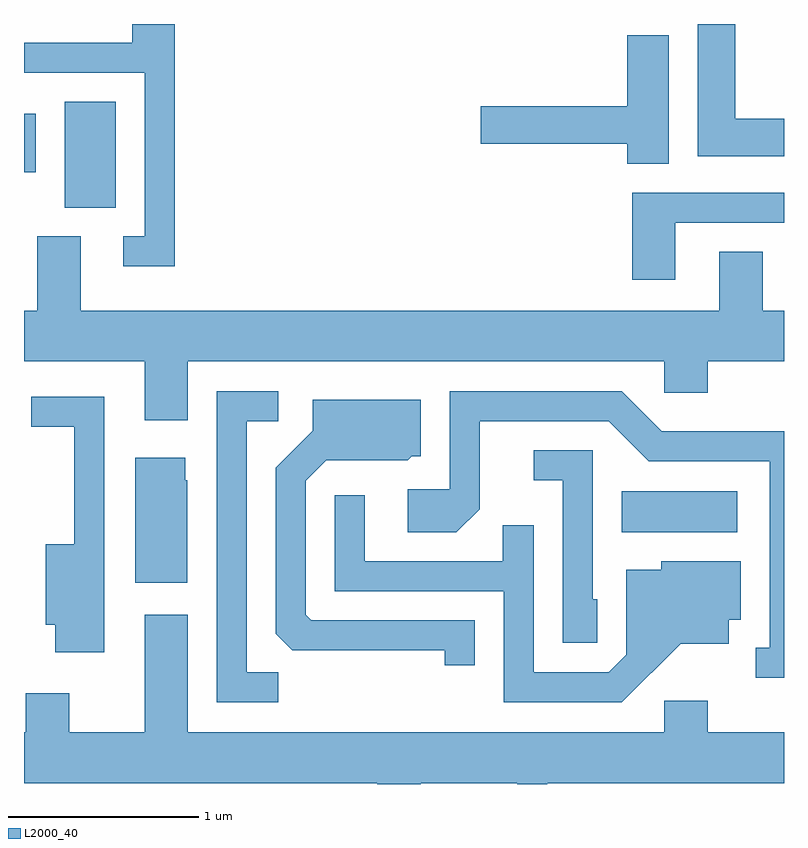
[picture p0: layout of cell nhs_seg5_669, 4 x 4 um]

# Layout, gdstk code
import gdstk
lib = gdstk.Library(unit=1e-6, precision=1e-09)
def R(c, l, rs):  # rectangles x0, y0, x1, y1
    for r in rs: c.add(gdstk.rectangle(r[:2], r[2:], *l))
def P(c, l, *ps):  # polygons
    for p in ps: c.add(gdstk.Polygon(p, *l))
L2000_40 = (2000, 40)

nhs_seg5_669 = lib.new_cell('nhs_seg5_669')
R(nhs_seg5_669, L2000_40, [(206.756,1511.396,207.364,1511.614), (203.826,1513.106,204.094,1513.664), (203.611,1513.291,203.674,1513.599)])
P(nhs_seg5_669, L2000_40, [(204.404,1514.072),(204.181,1514.072),(204.181,1513.974),(203.611,1513.974),(203.611,1513.816),(204.246,1513.816),(204.246,1512.954),(204.133,1512.954),(204.133,1512.796),(204.404,1512.796)],
  [(207.611,1513.574),(207.354,1513.574),(207.354,1514.072),(207.156,1514.072),(207.156,1513.376),(207.611,1513.376)],
  [(207.004,1514.014),(206.786,1514.014),(206.786,1513.639),(206.016,1513.639),(206.016,1513.441),(206.786,1513.441),(206.786,1513.336),(207.004,1513.336)],
  [(207.039,1513.026),(207.611,1513.026),(207.611,1513.184),(206.811,1513.184),(206.811,1512.726),(207.039,1512.726)],
  [(204.474,1512.296),(206.981,1512.296),(206.981,1512.131),(207.209,1512.131),(207.209,1512.296),(207.611,1512.296),(207.611,1512.564),(207.499,1512.564),(207.499,1512.874),(207.271,1512.874),(207.271,1512.564),(203.909,1512.564),(203.909,1512.954),(203.681,1512.954),(203.681,1512.564),(203.611,1512.564),(203.611,1512.296),(204.246,1512.296),(204.246,1511.986),(204.474,1511.986)],
  [(204.948,1510.659),(204.784,1510.659),(204.784,1511.981),(204.948,1511.981),(204.948,1512.139),(204.626,1512.139),(204.626,1510.501),(204.948,1510.501)],
  [(207.611,1511.929),(206.967,1511.929),(206.757,1512.139),(205.851,1512.139),(205.851,1511.624),(205.631,1511.624),(205.631,1511.396),(205.887,1511.396),(206.009,1511.519),(206.009,1511.981),(206.689,1511.981),(206.899,1511.771),(207.536,1511.771),(207.536,1510.789),(207.463,1510.789),(207.463,1510.631),(207.611,1510.631)],
  [(204.034,1512.109),(203.648,1512.109),(203.648,1511.951),(203.876,1511.951),(203.876,1511.334),(203.726,1511.334),(203.726,1510.911),(203.776,1510.911),(203.776,1510.766),(204.034,1510.766)],
  [(205.984,1510.934),(205.122,1510.934),(205.094,1510.962),(205.094,1511.669),(205.202,1511.776),(205.632,1511.776),(205.652,1511.796),(205.699,1511.796),(205.699,1512.094),(205.131,1512.094),(205.131,1511.932),(204.936,1511.737),(204.936,1510.862),(205.022,1510.776),(205.826,1510.776),(205.826,1510.698),(205.984,1510.698)],
  [(206.629,1511.044),(206.604,1511.044),(206.604,1511.829),(206.293,1511.829),(206.293,1511.671),(206.446,1511.671),(206.446,1510.816),(206.629,1510.816)],
  [(204.469,1511.67),(204.459,1511.67),(204.459,1511.789),(204.196,1511.789),(204.196,1511.131),(204.469,1511.131)],
  [(207.067,1510.811),(207.319,1510.811),(207.319,1510.936),(207.384,1510.936),(207.384,1511.244),(206.966,1511.244),(206.966,1511.199),(206.781,1511.199),(206.781,1510.752),(206.689,1510.659),(206.294,1510.659),(206.294,1511.433),(206.131,1511.433),(206.131,1511.244),(205.404,1511.244),(205.404,1511.593),(205.246,1511.593),(205.246,1511.086),(206.136,1511.086),(206.136,1510.501),(206.757,1510.501)],
  [(205.699,1510.076),(206.206,1510.076),(206.206,1510.072),(206.364,1510.072),(206.364,1510.076),(207.611,1510.076),(207.611,1510.344),(207.209,1510.344),(207.209,1510.509),(206.981,1510.509),(206.981,1510.344),(204.474,1510.344),(204.474,1510.964),(204.246,1510.964),(204.246,1510.344),(203.849,1510.344),(203.849,1510.549),(203.621,1510.549),(203.621,1510.344),(203.611,1510.344),(203.611,1510.076),(205.471,1510.076),(205.471,1510.072),(205.699,1510.072)])

lib.write_gds('nhs_seg5_669.gds')
